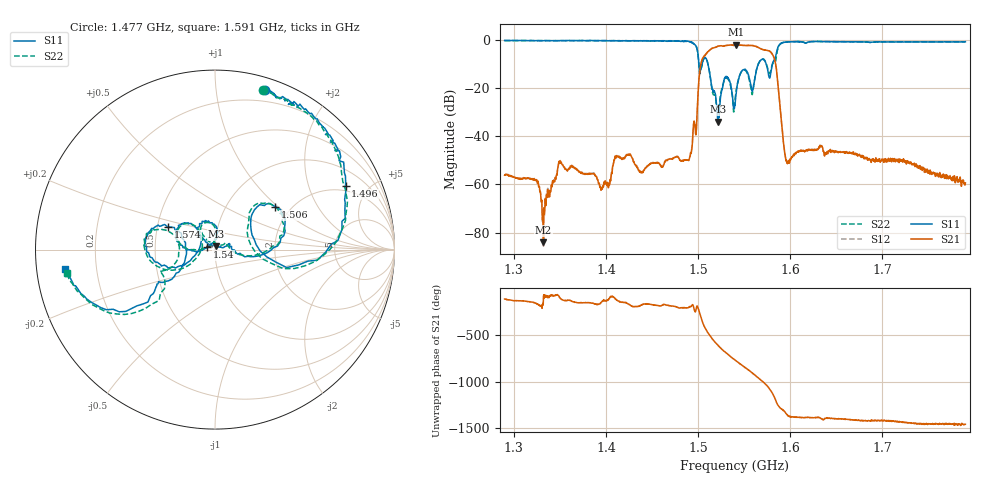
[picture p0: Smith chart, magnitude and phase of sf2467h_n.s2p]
!Agilent Technologies,E5070B,MY42401647,A.08.11
!Date: Tue Sep 11 14:23:07 2018
!Data & Calibration Information:
!Freq	S11:SOLT2(ON)	S21:SOLT2(ON)	S12:SOLT2(ON)	S22:SOLT2(ON)
# Hz S RI R 50
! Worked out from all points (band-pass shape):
!   1601 points, 1.29 GHz to 1.79 GHz, reference 50 ohm
!   highest |S21| = -2.11 dB at 1.541 GHz (marker M1); lowest = -83.9 dB at 1.332 GHz (marker M2)
!   |S21| within 3 dB of the highest: 1.511 GHz to 1.578 GHz (67.95 MHz wide, 4.4 % of centre)
!   lowest |S11| = -34.0 dB at 1.522 GHz (marker M3), VSWR 1.04, Z = 50.5 + j1.94 ohm
!   |S11| at or under -10 dB: 1.500792 GHz to 1.504447 GHz (3.655 MHz wide, 0.243 % of centre); 1.511 GHz to 1.566 GHz (55.13 MHz wide, 3.58 % of centre); 1.573704 GHz to 1.580695 GHz (6.99 MHz wide, 0.443 % of centre)
!   |S22| runs from -30.0 to -0.4 dB; largest |S21 - S12| = 0.043
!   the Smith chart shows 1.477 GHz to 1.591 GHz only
!   S11 on the Smith chart (normalised r, x): 1.477 GHz: 0.10, +1.36; 1.496 GHz: 1.72, +3.54; 1.506 GHz: 1.66, +0.96; 1.54 GHz: 0.92, +0.03; 1.574 GHz: 0.57, +0.16; 1.591 GHz: 0.09, -0.06
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1.29e9  -0.7046 0.6429  -0.000802 -0.00133  -0.00089 -0.00133  -0.7032 0.6438
1.332188e9  -0.608 0.7313  -1.89e-06 -6.4e-05  1.2e-06 -5.29e-05  -0.6021 0.7307
1.35e9  -0.5439 0.7766  -0.000849 -0.0029  -0.000943 -0.00292  -0.5548 0.7671
1.373438e9  -0.487 0.8181  -0.00163 -0.000616  -0.00172 -0.000589  -0.4827 0.8178
1.456875e9  -0.0317 0.9436  -0.00276 0.000556  -0.00275 0.000692  -0.0154 0.9344
1.476875e9  0.2791 0.8913  -0.00336 0.00175  -0.00337 0.00186  0.2656 0.8906
1.495625e9  0.7273 0.3553  -0.0133 0.0155  -0.0128 0.016  0.7208 0.3564
1.50625e9  0.3345 0.2389  0.3132 -0.3235  0.3184 -0.3208  0.3165 0.2506
1.514688e9  0.108 -0.002  -0.6484 -0.0468  -0.6482 -0.0326  0.0985 -0.00817
1.521875e9  0.00508 0.0193  -0.1411 0.7172  -0.15 0.7254  -0.00415 0.0404
1.53e9  -0.0728 0.1451  0.6614 0.3548  0.6596 0.3559  -0.065 0.1443
1.539688e9  -0.0428 0.0146  0.5129 -0.5724  0.5123 -0.5705  -0.0489 0.0122
1.54e9  -0.0421 0.011  0.5022 -0.5859  0.4898 -0.6056  -0.0557 0.00859
1.54125e9  -0.0757 -0.00326  0.3635 -0.6948  0.3816 -0.6727  -0.0883 0.000318
1.5575e9  -0.08 0.0678  -0.754 -0.0132  -0.7542 -0.0143  -0.07 0.0558
1.574375e9  -0.2611 0.126  0.4553 0.3884  0.459 0.3803  -0.281 0.1097
1.583438e9  -0.3375 -0.2333  -0.0635 -0.3497  -0.0783 -0.3462  -0.2805 -0.1644
1.590625e9  -0.837 -0.1057  -0.0156 0.00921  -0.0153 0.0097  -0.8265 -0.1325
1.597188e9  -0.8714 0.1701  0.000359 0.00283  0.000426 0.00286  -0.878 0.157
1.623438e9  -0.7096 0.5593  0.00314 0.00428  0.00319 0.00434  -0.7267 0.546
1.706875e9  -0.365 0.8156  0.0031 0.00103  0.00312 0.000979  -0.3663 0.8178
1.79e9  -0.1533 0.8875  0.00104 -0.000282  0.00106 -0.000286  -0.1587 0.881
